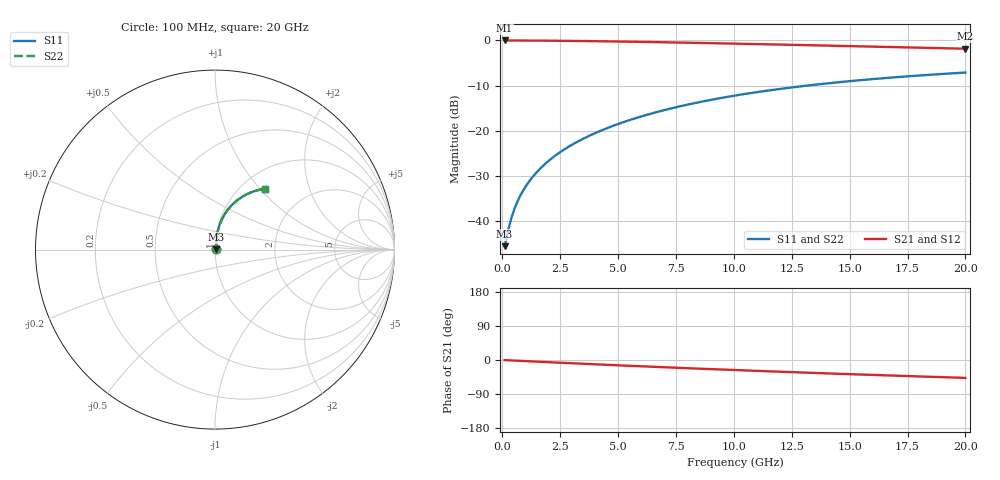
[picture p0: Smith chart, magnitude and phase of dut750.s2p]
! Touchstone file exported from HFSS 2024.1.0
!  File:  C:/UserFiles/LocalFiles/RDL_TSV_Batchsim/temp_RDL_top_750_1779851783.aedt
!  Generated:  11:19:20 AM May 27, 2026
!  Design:  RDL_top
!  Project:  temp_RDL_top_750_1779851783
!  Setup:  Setup1
!  Solution:  Sweep
! Variables:
!  dtsv = 10.80580581um
!  hbump = 3um
!  htsv = 69.35um
!  ldown = 100um
!  lrdl = 627.69um
!  p = 40
!  p1 = 57.9um
!  rhole = 1um
!  t = 450um
!  tdown = 3.915915916um
!  trdl = 2.2um
!  wdown = 15.38538539um
!  wrdl = 22.97um
# GHz S MA R 50.000000
! Terminal data exported
! Port[1] = Box2_T1
! Port[2] = Box2_T2
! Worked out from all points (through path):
!   200 points, 100 MHz to 20 GHz, reference 50 ohm
!   highest |S21| = -0.04 dB at 100 MHz (marker M1); lowest = -1.9 dB at 20 GHz (marker M2)
!   group delay of S21, straight-line fit = 6.51 ps
!   lowest |S11| = -45.5 dB at 100 MHz (marker M3), VSWR 1.01, Z = 50.5 + j0.253 ohm
!   |S11| at or under -10 dB: start of sweep to 13.18 GHz
!   |S22| runs from -45.5 to -7.1 dB; largest |S21 - S12| = 1.4e-14
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0.1  0.005333 28.0  0.9953 -0.3  0.9953 -0.3  0.005333 28.0
! Gamma 0 0 0 0
! Port Impedance 50 0 50 0
0.3  0.008927 56.0  0.9949 -0.9  0.9949 -0.9  0.008927 56.0
0.4  0.01105 62.0  0.9947 -1.2  0.9947 -1.2  0.01105 62.0
0.5  0.01321 66.0  0.9944 -1.5  0.9944 -1.5  0.01321 66.0
0.6  0.01539 68.8  0.9942 -1.8  0.9942 -1.8  0.01539 68.8
0.8  0.01974 72.7  0.9936 -2.4  0.9936 -2.4  0.01975 72.7
1  0.02413 75.2  0.9931 -2.9  0.9931 -2.9  0.02413 75.2
1.2  0.02855 77.0  0.9925 -3.5  0.9925 -3.5  0.02855 77.0
1.7  0.03977 79.7  0.9907 -4.9  0.9907 -4.9  0.03977 79.7
2.2  0.05123 81.0  0.9885 -6.3  0.9885 -6.3  0.05123 81.0
2.8  0.06527 81.7  0.9853 -8.0  0.9853 -8.0  0.06527 81.7
3.5  0.08202 81.8  0.9809 -10.0  0.9809 -10.0  0.08202 81.8
4.2  0.09913 81.5  0.9758 -11.9  0.9758 -11.9  0.09912 81.4
5  0.119 80.6  0.9692 -14.0  0.9692 -14.0  0.119 80.6
5.9  0.1417 79.4  0.9611 -16.4  0.9611 -16.4  0.1417 79.3
6.8  0.1645 77.8  0.9525 -18.7  0.9525 -18.7  0.1645 77.8
8.4  0.2048 74.7  0.936 -22.6  0.936 -22.6  0.2047 74.6
10.1  0.2464 71.0  0.9176 -26.7  0.9176 -26.7  0.2463 71.0
11.7  0.2837 67.5  0.8998 -30.3  0.8998 -30.3  0.2836 67.4
13.4  0.321 63.8  0.8805 -34.0  0.8805 -34.0  0.3209 63.7
16.7  0.3857 56.8  0.8432 -40.8  0.8432 -40.8  0.3855 56.8
20  0.4402 50.4  0.8071 -47.2  0.8071 -47.2  0.44 50.4
